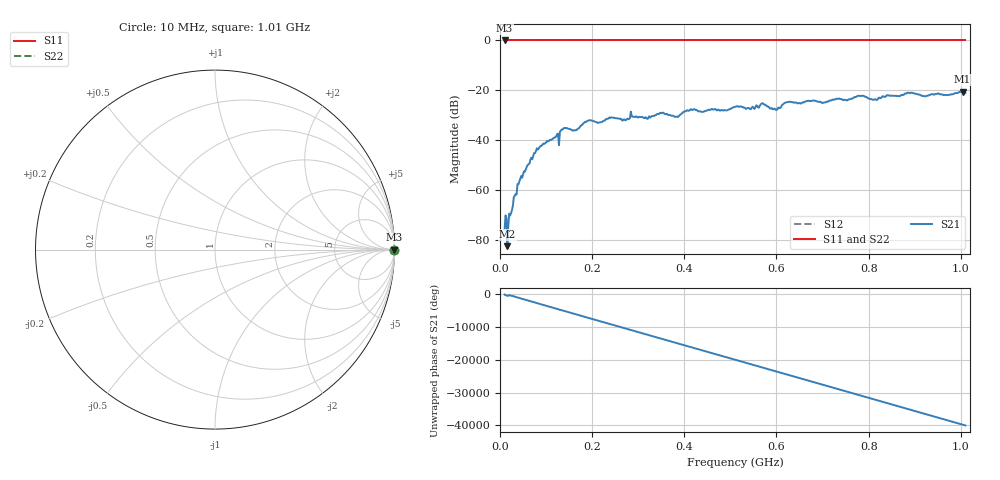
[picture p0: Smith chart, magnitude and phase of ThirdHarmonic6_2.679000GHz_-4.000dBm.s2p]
! 8/17/2025 6:16:57 AM
! C:\ANRITSUVNA\TEMP\TEMP.S2P
! CHANNEL.1
! TR.MEASUREMENT
! RAW.DATA
! RF.CORRECTION.OFF
! AVERAGING.OFF
! IF.BANDWIDTH: 5KHZ
! SWEEPTYPE:  FREQ.SWEEP(Linear)
! Reference Plane Port Info
! PORT:  PORT1  PORT2
! DISTANCE:  0  m  0  m
! TIME:  0  s  0  s
! PHASE.OFFSET:  0  deg.  0  deg.
! LOSS:  0  dB  0  dB
! REF.LOSS:  0  dB  0  dB
! REF.FREQ:  0  Hz  0  Hz
! Power Info
! POWER:  -20  dBm  -20  dBm
! EFF.POWER:  -20  dBm  -20  dBm
! SOURCE.ATTEN:  0  dB  0  dB
! TEST.ATTEN:  0  dB  0  dB
# GHZ S RI R 50.0
! FREQ.GHZ  S11RE  S11IM  S21RE  S21IM  S12RE  S12IM  S22RE  S22IM
!; PortSelection: Port_12
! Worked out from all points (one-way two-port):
!   501 points, 10 MHz to 1.01 GHz, reference 50 ohm
!   highest |S21| = -20.47 dB at 1.004 GHz (marker M1); lowest = -82.4 dB at 16 MHz (marker M2)
!   lowest |S11| = 0.0 dB at 10 MHz (marker M3)
!   |S11| at or under -10 dB: nowhere
!   |S22| runs from 0.0 to 0.0 dB; largest |S21 - S12| = 1.1
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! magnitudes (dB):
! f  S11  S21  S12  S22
! 10 MHz  0.0  -75.7  0.0  0.0
! 16 MHz  0.0  -82.4  0.0  0.0
! 20 MHz  0.0  -69.4  0.0  0.0
! 42 MHz  0.0  -56.6  0.0  0.0
! 78 MHz  0.0  -44.3  0.0  0.0
! 124 MHz  0.0  -37.5  0.0  0.0
! 136 MHz  0.0  -35.6  0.0  0.0
! 162 MHz  0.0  -36.1  0.0  0.0
! 178 MHz  0.0  -33.9  0.0  0.0
! 344 MHz  0.0  -29.6  0.0  0.0
! 384 MHz  0.0  -30.5  0.0  0.0
! 416 MHz  0.0  -27.8  0.0  0.0
! 510 MHz  0.0  -26.6  0.0  0.0
! 570 MHz  0.0  -25.2  0.0  0.0
! 598 MHz  0.0  -27.7  0.0  0.0
! 622 MHz  0.0  -24.7  0.0  0.0
! 678 MHz  0.0  -24.2  0.0  0.0
! 784 MHz  0.0  -22.2  0.0  0.0
! 814 MHz  0.0  -23.5  0.0  0.0
! 844 MHz  0.0  -22.0  0.0  0.0
! 1.004 GHz  0.0  -20.5  0.0  0.0
! 1.01 GHz  0.0  -21.1  0.0  0.0
